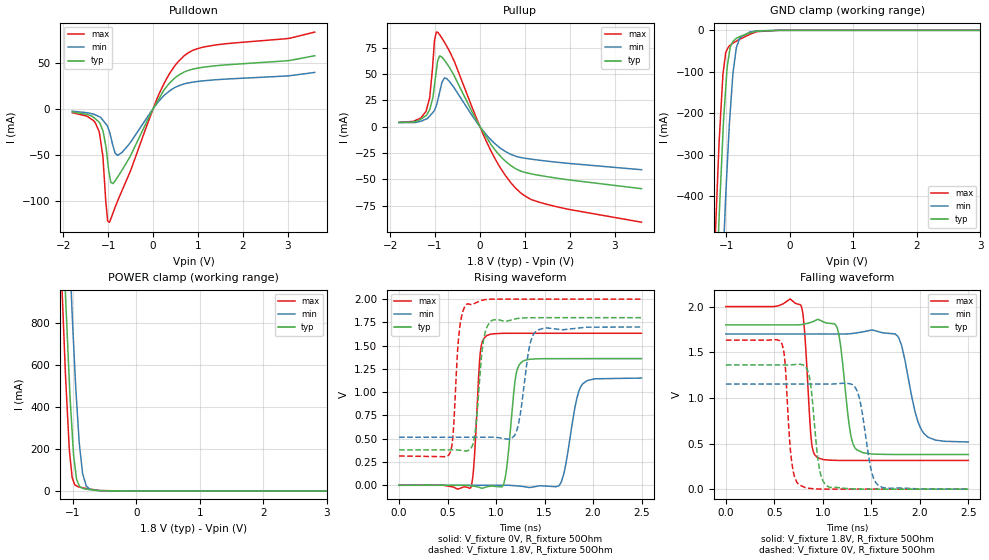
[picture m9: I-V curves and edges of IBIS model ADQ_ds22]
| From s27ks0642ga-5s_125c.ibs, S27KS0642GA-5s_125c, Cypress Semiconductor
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[Model]   ADQ_ds22
Model_type   I/O
Polarity   Non-Inverting
Enable   Active-High
Vinl = 0.54
Vinh = 1.26
Vmeas = 0.9
Vref = 0.9
Cref = 15pF
|   typ   min   max
C_comp   1.03pF   1.01pF   1.05pF
[Voltage Range]   1.8   1.7   2
[Temperature Range]   25   125   -40
[Pullup Reference]   1.8   1.7   2
[Pulldown Reference]   0   0   0
[Power Clamp Reference]   1.8   1.7   2
[GND Clamp Reference]   0   0   0
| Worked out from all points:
|   slope of the pulldown table from 0 to 0.27 V, typ, clamps not added: 12 ohm
|   slope of the pullup table from 0 to 0.27 V, typ, clamps not added: 14.6 ohm
|   falling waveform, V_fixture 1.8V, R_fixture 50Ohm: 20-80 % time 87.8ps typ, 141ps min, 56.2ps max; typ from 1.8 V to 0.38 V
|   rising waveform, V_fixture 0V, R_fixture 50Ohm: 20-80 % time 73.3ps typ, 111ps min, 50ps max; typ from 0 V to 1.36 V
|   rising waveform, V_fixture 1.8V, R_fixture 50Ohm: 20-80 % time 70.7ps typ, 91.7ps min, 57.8ps max; typ from 0.38 V to 1.8 V
|   falling waveform, V_fixture 0V, R_fixture 50Ohm: 20-80 % time 76.4ps typ, 102ps min, 60.2ps max; typ from 1.36 V to 0 V
[Pulldown]
|   Voltage   I(typ)   I(min)   I(max)
-1.8V     -3.538mA   -2.751mA   -4.399mA
-1.326V   -9.502mA   -5.985mA   -13mA
-1.2V     -14.76mA   -8.696mA   -24.99mA
-1.118V   -23.86mA   -12.57mA   -51.53mA
-1.056V   -39.7mA    -16.32mA   -99.16mA
-1.012V   -57.09mA   -19.47mA   -122.1mA
-972mV    -71.81mA   -25.25mA   -123.3mA
-894.6mV  -81.35mA   -40.2mA    -113.5mA
-788mV    -74.17mA   -50.79mA   -99.98mA
138mV     11.37mA    8.655mA    16.5mA
685.8mV   39.62mA    26.77mA    57.16mA
3.6V      57.46mA    39.32mA    83.15mA
[GND Clamp]
|   Voltage   I(typ)   I(min)   I(max)
-1.8V     -3.484A    -3.81A     -3.305A
-1.172V   -669.9mA   -1.01A     -480.1mA
-1.118V   -459.3mA   -802.8mA   -275.6mA
-1.046V   -216.6mA   -525.9mA   -94.15mA
-1.021V   -161.1mA   -432.3mA   -65.17mA
-988.2mV  -87.22mA   -326.2mA   -45.42mA
-941.4mV  -40.67mA   -197.9mA   -35.59mA
-899mV    -26.95mA   -105.1mA   -31.02mA
-844.6mV  -19.44mA   -41.84mA   -26.04mA
-788.4mV  -14.96mA   -17.68mA   -21.24mA
-513mV    -1.652mA   -1.137mA   -3.021mA
3.6V      0A         0A         0A
[Pullup]
|   Voltage   I(typ)   I(min)   I(max)
-1.8V     4.062mA    3.926mA    4.161mA
-1.2V     10.44mA    7.188mA    14.55mA
-1.118V   16.27mA    10.19mA    27.54mA
-1.046V   28.02mA    13.56mA    61.41mA
-1.012V   39.22mA    15.5mA     81.64mA
-941.4mV  62.67mA    24.59mA    89.61mA
-846.3mV  66.16mA    42.12mA    84.18mA
-735.8mV  60.04mA    45.6mA     76.28mA
254mV     -17.29mA   -12.81mA   -23.61mA
811.2mV   -40.2mA    -28.2mA    -58.96mA
1.522V    -47.63mA   -32.83mA   -74.04mA
3.6V      -58.85mA   -40.85mA   -90.69mA
[POWER Clamp]
|   Voltage   I(typ)   I(min)   I(max)
-1.8V     6.849A     7.494A     6.488A
-1.17V    1.353A     2.05A      959.2mA
-1.114V   920.5mA    1.624A     540.3mA
-1.056V   523.6mA    1.18A      198mA
-1.015V   298.5mA    868.6mA    73.69mA
-988.2mV  169.4mA    698mA      44.21mA
-941.4mV  55.63mA    429mA      23.35mA
-899mV    24.16mA    227mA      18.51mA
-846.3mV  12.34mA    82.61mA    15.01mA
-788.5mV  8.339mA    23.2mA     11.79mA
-735.8mV  6.19mA     8.717mA    9.098mA
3.6V      0A         0A         0A
[Ramp]
R_load = 50
|   typ   min   max
dV/dt_r 8.1618E-01/7.2835E-11   6.9076E-01/1.1084E-10   9.7954E-01/4.9897E-11
dV/dt_f 8.5229E-01/8.7362E-11   7.0981E-01/1.3992E-10   1.0115E+00/5.6112E-11
[Falling Waveform]
V_fixture = 1.8V
V_fixture_min = 1.7V
V_fixture_max = 2V
R_fixture = 50Ohm
C_fixture = 0F
|   Time   V(typ)   V(min)   V(max)
0s        1.8V       1.7V       2V
775ps     1.803V     1.7V       2.011V
880ps     1.828V     1.7V       549.8mV
940ps     1.857V     1.7V       349.8mV
1.15ns    1.759V     1.699V     315.3mV
1.275ns   676.1mV    1.702V     314.5mV
1.345ns   436.4mV    1.711V     314.3mV
1.77ns    379.9mV    1.678V     314.2mV
2.02ns    379.6mV    644mV      314.2mV
2.5ns     379.5mV    517mV      314.2mV
[Rising Waveform]
V_fixture = 0V
V_fixture_min = 0V
V_fixture_max = 0V
R_fixture = 50Ohm
C_fixture = 0F
|   Time   V(typ)   V(min)   V(max)
0s        0V         0V         0V
740ps     -5.721mV   0V         -24.67mV
775ps     -10.87mV   505.8nV    273mV
835ps     -25.53mV   1.38uV     1.4V
900ps     -17.74mV   -24.6uV    1.605V
1.08ns    14.96mV    553.4uV    1.632V
1.25ns    1.309V     -10.24mV   1.632V
1.66ns    1.36V      11.05mV    1.633V
1.895ns   1.36V      1.091V     1.633V
2.5ns     1.36V      1.151V     1.633V
[Rising Waveform]
V_fixture = 1.8V
V_fixture_min = 1.7V
V_fixture_max = 2V
R_fixture = 50Ohm
C_fixture = 0F
|   Time   V(typ)   V(min)   V(max)
0s        379.5mV    515.8mV    314.2mV
525ps     379.6mV    515.8mV    346.7mV
620ps     377.1mV    515.8mV    1.65V
700ps     368.1mV    515.8mV    1.946V
775ps     504.1mV    515.8mV    1.951V
870ps     1.552V     515.8mV    1.99V
950ps     1.765V     516.4mV    1.999V
1.21ns    1.789V     576mV      2V
1.42ns    1.8V       1.664V     2V
2.5ns     1.8V       1.7V       2V
[Falling Waveform]
|Gnd
V_fixture = 0V
V_fixture_min = 0V
V_fixture_max = 0V
R_fixture = 50Ohm
C_fixture = 0F
|   Time   V(typ)   V(min)   V(max)
0s        1.36V      1.151V     1.633V
575ps     1.36V      1.151V     1.599V
675ps     1.362V     1.151V     329.4mV
755ps     1.368V     1.151V     47.01mV
855ps     1.258V     1.151V     10mV
965ps     220.3mV    1.151V     1.449mV
1.055ns   26.82mV    1.151V     285.9uV
1.35ns    1.67mV     1.083V     5.615uV
1.57ns    83.2uV     43.89mV    0V
2.5ns     0V         15.66uV    0V
